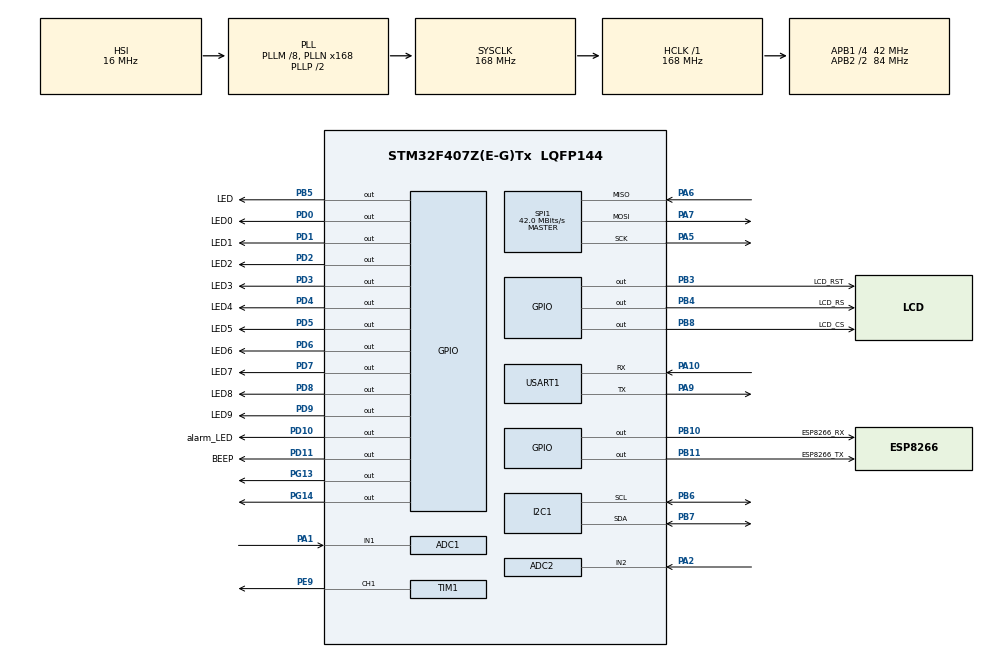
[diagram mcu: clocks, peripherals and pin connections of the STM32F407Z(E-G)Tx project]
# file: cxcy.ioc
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ADC1.Channel-1\#ChannelRegularConversion=ADC_CHANNEL_1
ADC1.NbrOfConversionFlag=1
ADC1.Rank-1\#ChannelRegularConversion=1
ADC1.SamplingTime-1\#ChannelRegularConversion=ADC_SAMPLETIME_3CYCLES
ADC1.master=1
ADC2.Channel-0\#ChannelRegularConversion=ADC_CHANNEL_2
ADC2.NbrOfConversionFlag=1
ADC2.Rank-0\#ChannelRegularConversion=1
ADC2.SamplingTime-0\#ChannelRegularConversion=ADC_SAMPLETIME_3CYCLES
Dma.Request0=SPI1_TX
Dma.SPI1_TX.0.Direction=DMA_MEMORY_TO_PERIPH
Dma.SPI1_TX.0.FIFOMode=DMA_FIFOMODE_DISABLE
Dma.SPI1_TX.0.Instance=DMA2_Stream3
Dma.SPI1_TX.0.MemDataAlignment=DMA_MDATAALIGN_HALFWORD
Dma.SPI1_TX.0.MemInc=DMA_MINC_ENABLE
Dma.SPI1_TX.0.Mode=DMA_NORMAL
Dma.SPI1_TX.0.PeriphDataAlignment=DMA_PDATAALIGN_HALFWORD
Dma.SPI1_TX.0.PeriphInc=DMA_PINC_DISABLE
Dma.SPI1_TX.0.Priority=DMA_PRIORITY_MEDIUM
FREERTOS.Tasks01=defaultTask,24,128,StartDefaultTask,Default,NULL,Dynamic,NULL,NULL;sensor_Task,8,256,Sensor_Task,Default,NULL,Dynamic,NULL,NULL;upload_Task,8,256,Upload_Task,Default,NULL,Dynamic,NULL,NULL;alarm_Task,8,256,Alarm_Task,Default,NULL,Dynamic,NULL,NULL
Mcu.Family=STM32F4
Mcu.Name=STM32F407Z(E-G)Tx
Mcu.Package=LQFP144
NVIC.DMA2_Stream3_IRQn=true\:5\:0\:false\:false\:true\:true\:false\:true\:true
NVIC.PriorityGroup=NVIC_PRIORITYGROUP_4
PA1.Signal=ADCx_IN1
PA10.Mode=Asynchronous
PA10.Signal=USART1_RX
PA2.Signal=ADCx_IN2
PA5.Mode=Full_Duplex_Master
PA5.Signal=SPI1_SCK
PA6.Mode=Full_Duplex_Master
PA6.Signal=SPI1_MISO
PA7.Mode=Full_Duplex_Master
PA7.Signal=SPI1_MOSI
PA9.Mode=Asynchronous
PA9.Signal=USART1_TX
PB10.GPIO_Label=ESP8266_RX
PB10.Signal=GPIO_Output
PB11.GPIO_Label=ESP8266_TX
PB11.Signal=GPIO_Output
PB3.GPIO_Label=LCD_RST
PB3.Signal=GPIO_Output
PB4.GPIO_Label=LCD_RS
PB4.Signal=GPIO_Output
PB5.GPIO_Label=LED
PB5.Signal=GPIO_Output
PB6.Mode=I2C
PB6.Signal=I2C1_SCL
PB7.Mode=I2C
PB7.Signal=I2C1_SDA
PB8.GPIO_Label=LCD_CS
PB8.Signal=GPIO_Output
PC14-OSC32_IN.Mode=LSE-External-Oscillator
PC14-OSC32_IN.Signal=RCC_OSC32_IN
PC15-OSC32_OUT.Mode=LSE-External-Oscillator
PC15-OSC32_OUT.Signal=RCC_OSC32_OUT
PD0.GPIO_Label=LED0
PD0.Signal=GPIO_Output
PD1.GPIO_Label=LED1
PD1.Signal=GPIO_Output
PD10.GPIO_Label=alarm_LED
PD10.Signal=GPIO_Output
PD11.GPIO_Label=BEEP
PD11.Signal=GPIO_Output
PD2.GPIO_Label=LED2
PD2.Signal=GPIO_Output
PD3.GPIO_Label=LED3
PD3.Signal=GPIO_Output
PD4.GPIO_Label=LED4
PD4.Signal=GPIO_Output
PD5.GPIO_Label=LED5
PD5.Signal=GPIO_Output
PD6.GPIO_Label=LED6
PD6.Signal=GPIO_Output
PD7.GPIO_Label=LED7
PD7.Signal=GPIO_Output
PD8.GPIO_Label=LED8
PD8.Signal=GPIO_Output
PD9.GPIO_Label=LED9
PD9.Signal=GPIO_Output
PE9.Signal=S_TIM1_CH1
PG13.Signal=GPIO_Output
PG14.Signal=GPIO_Output
PH0-OSC_IN.Mode=HSE-External-Oscillator
PH0-OSC_IN.Signal=RCC_OSC_IN
PH1-OSC_OUT.Mode=HSE-External-Oscillator
PH1-OSC_OUT.Signal=RCC_OSC_OUT
ProjectManager.HeapSize=0x400
ProjectManager.StackSize=0x800
ProjectManager.TargetToolchain=MDK-ARM V5.32
RCC.48MHZClocksFreq_Value=84000000
RCC.AHBFreq_Value=168000000
RCC.APB1CLKDivider=RCC_HCLK_DIV4
RCC.APB1Freq_Value=42000000
RCC.APB1TimFreq_Value=84000000
RCC.APB2CLKDivider=RCC_HCLK_DIV2
RCC.APB2Freq_Value=84000000
RCC.APB2TimFreq_Value=168000000
RCC.CortexFreq_Value=168000000
RCC.HCLKFreq_Value=168000000
RCC.HSE_VALUE=25000000
RCC.HSI_VALUE=16000000
RCC.PLLM=8
RCC.PLLN=168
RCC.SYSCLKFreq_VALUE=168000000
RCC.SYSCLKSource=RCC_SYSCLKSOURCE_PLLCLK
RCC.VCOOutputFreq_Value=336000000
SH.ADCx_IN1.0=ADC1_IN1,IN1
SH.ADCx_IN2.0=ADC2_IN2,IN2
SH.S_TIM1_CH1.0=TIM1_CH1,PWM Generation1 CH1
SPI1.CalculateBaudRate=42.0 MBits/s
SPI1.Direction=SPI_DIRECTION_2LINES
SPI1.Mode=SPI_MODE_MASTER
SPI1.VirtualType=VM_MASTER
TIM1.Channel-PWM\ Generation1\ CH1=TIM_CHANNEL_1
TIM1.Period=150
USART1.VirtualMode=VM_ASYNC
VP_FREERTOS_VS_CMSIS_V2.Mode=CMSIS_V2
VP_TIM1_VS_ClockSourceINT.Mode=Internal
board=custom

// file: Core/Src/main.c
/* USER CODE BEGIN Header */
/**
  ******************************************************************************
  * @file           : main.c
  * @brief          : Main program body
  ******************************************************************************
  * @attention
  *
  * Copyright (c) 2026 STMicroelectronics.
  * All rights reserved.
  *
  * This software is licensed under terms that can be found in the LICENSE file
  * in the root directory of this software component.
  * If no LICENSE file comes with this software, it is provided AS-IS.
  *
  ******************************************************************************
  */
/* USER CODE END Header */
#include "main.h"
#include "cmsis_os.h"
#include "adc.h"
#include "dma.h"
#include "i2c.h"
#include "spi.h"
#include "tim.h"
#include "usart.h"
#include "gpio.h"

void SystemClock_Config(void);
void MX_FREERTOS_Init(void);

/* USER CODE BEGIN 0 */
KalmanFilter kf1,kf2,kf3; // 卡尔曼滤波句柄

float filtered_voltage; //滤波后的电压
float filtered_current; //滤波后的电流
float filtered_temperature; //滤波后的温度
float soc_estimate; //剩余电量

float vol; //测量电压
float current; //测量电流
float temp; //测量温度

/* USER CODE END 0 */

int main(void)
{

  /* MCU Configuration--------------------------------------------------------*/

  /* Reset of all peripherals, Initializes the Flash interface and the Systick. */
  HAL_Init();

  /* Configure the system clock */
  SystemClock_Config();

  /* Initialize all configured peripherals */
  MX_GPIO_Init();
  MX_DMA_Init();
  MX_ADC1_Init();
  MX_I2C1_Init();
  MX_SPI1_Init();
  MX_TIM1_Init();
  MX_USART1_UART_Init();
  MX_ADC2_Init();
  /* USER CODE BEGIN 2 */

  //开启ADC
  HAL_ADC_Start(&hadc1);
  HAL_ADC_Start(&hadc2);
  //开启PWM
  HAL_TIM_PWM_Start(&htim1, TIM_CHANNEL_1);

  bmp280_Init(&hi2c1);
  LCD_Init();
  KalmanFilter_Init(&kf1, 0.01, 1, 0);
  KalmanFilter_Init(&kf2, 0.01, 1, 0);
  KalmanFilter_Init(&kf3, 0.01, 1, 0);

  /* USER CODE END 2 */

  /* Init scheduler */
  osKernelInitialize();

  /* Call init function for freertos objects (in cmsis_os2.c) */
  MX_FREERTOS_Init();

  /* Start scheduler */
  osKernelStart();

  /* We should never get here as control is now taken by the scheduler */

  /* Infinite loop */
  while (1)
  {

  }
}

void SystemClock_Config(void)
{
  RCC_OscInitTypeDef RCC_OscInitStruct = {0};
  RCC_ClkInitTypeDef RCC_ClkInitStruct = {0};

  /** Configure the main internal regulator output voltage
  */
  __HAL_RCC_PWR_CLK_ENABLE();
  __HAL_PWR_VOLTAGESCALING_CONFIG(PWR_REGULATOR_VOLTAGE_SCALE1);

  /** Initializes the RCC Oscillators according to the specified parameters
  * in the RCC_OscInitTypeDef structure.
  */
  RCC_OscInitStruct.OscillatorType = RCC_OSCILLATORTYPE_HSI;
  RCC_OscInitStruct.HSIState = RCC_HSI_ON;
  RCC_OscInitStruct.HSICalibrationValue = RCC_HSICALIBRATION_DEFAULT;
  RCC_OscInitStruct.PLL.PLLState = RCC_PLL_ON;
  RCC_OscInitStruct.PLL.PLLSource = RCC_PLLSOURCE_HSI;
  RCC_OscInitStruct.PLL.PLLM = 8;
  RCC_OscInitStruct.PLL.PLLN = 168;
  RCC_OscInitStruct.PLL.PLLP = RCC_PLLP_DIV2;
  RCC_OscInitStruct.PLL.PLLQ = 4;
  if (HAL_RCC_OscConfig(&RCC_OscInitStruct) != HAL_OK)
  {
    Error_Handler();
  }

  /** Initializes the CPU, AHB and APB buses clocks
  */
  RCC_ClkInitStruct.ClockType = RCC_CLOCKTYPE_HCLK|RCC_CLOCKTYPE_SYSCLK
                              |RCC_CLOCKTYPE_PCLK1|RCC_CLOCKTYPE_PCLK2;
  RCC_ClkInitStruct.SYSCLKSource = RCC_SYSCLKSOURCE_PLLCLK;
  RCC_ClkInitStruct.AHBCLKDivider = RCC_SYSCLK_DIV1;
  RCC_ClkInitStruct.APB1CLKDivider = RCC_HCLK_DIV4;
  RCC_ClkInitStruct.APB2CLKDivider = RCC_HCLK_DIV2;

  if (HAL_RCC_ClockConfig(&RCC_ClkInitStruct, FLASH_LATENCY_5) != HAL_OK)
  {
    Error_Handler();
  }
}

void Error_Handler(void)
{
  __disable_irq();
  while (1)
  {
  }
}

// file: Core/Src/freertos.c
/* USER CODE BEGIN Header */
/**
  ******************************************************************************
  * File Name          : freertos.c
  * Description        : Code for freertos applications
  ******************************************************************************
  * @attention
  *
  * Copyright (c) 2026 STMicroelectronics.
  * All rights reserved.
  *
  * This software is licensed under terms that can be found in the LICENSE file
  * in the root directory of this software component.
  * If no LICENSE file comes with this software, it is provided AS-IS.
  *
  ******************************************************************************
  */
/* USER CODE END Header */

#include "FreeRTOS.h"
#include "task.h"
#include "main.h"
#include "cmsis_os.h"
#include "gui_guider.h"

/* USER CODE BEGIN Variables */
const char *topic = "/sys/k1qq30jp47P/ESP32/thing/event/property/post";
lv_ui guider_ui;

AlarmLevel level = ALARM_NONE;
/* USER CODE END Variables */
/* Definitions for defaultTask */
osThreadId_t defaultTaskHandle;
const osThreadAttr_t defaultTask_attributes = {
  .name = "defaultTask",
  .stack_size = 128 * 4,
  .priority = (osPriority_t) osPriorityNormal,
};
/* Definitions for sensor_Task */
osThreadId_t sensor_TaskHandle;
const osThreadAttr_t sensor_Task_attributes = {
  .name = "sensor_Task",
  .stack_size = 256 * 4,
  .priority = (osPriority_t) osPriorityLow,
};
/* Definitions for upload_Task */
osThreadId_t upload_TaskHandle;
const osThreadAttr_t upload_Task_attributes = {
  .name = "upload_Task",
  .stack_size = 256 * 4,
  .priority = (osPriority_t) osPriorityLow,
};
/* Definitions for alarm_Task */
osThreadId_t alarm_TaskHandle;
const osThreadAttr_t alarm_Task_attributes = {
  .name = "alarm_Task",
  .stack_size = 256 * 4,
  .priority = (osPriority_t) osPriorityLow,
};

void StartDefaultTask(void *argument);
void Sensor_Task(void *argument);
void Upload_Task(void *argument);
void Alarm_Task(void *argument);

void MX_FREERTOS_Init(void); /* (MISRA C 2004 rule 8.1) */

void MX_FREERTOS_Init(void) {

  /* Create the thread(s) */
  /* creation of defaultTask */
  defaultTaskHandle = osThreadNew(StartDefaultTask, NULL, &defaultTask_attributes);

  /* creation of sensor_Task */
  sensor_TaskHandle = osThreadNew(Sensor_Task, NULL, &sensor_Task_attributes);

  /* creation of upload_Task */
  upload_TaskHandle = osThreadNew(Upload_Task, NULL, &upload_Task_attributes);

  /* creation of alarm_Task */
  alarm_TaskHandle = osThreadNew(Alarm_Task, NULL, &alarm_Task_attributes);

}

void StartDefaultTask(void *argument)
{
  /* USER CODE BEGIN StartDefaultTask */
	lv_init();
	lv_port_disp_init();
	lv_port_indev_init();

	setup_ui(&guider_ui);
  events_init(&guider_ui);
  custom_init(&guider_ui);
  /* Infinite loop */
  for(;;)
  {
		//display_time(&guider_ui);
		lv_timer_handler();

    osDelay(1);
  }
  /* USER CODE END StartDefaultTask */
}

void Sensor_Task(void *argument)
{
  /* USER CODE BEGIN Sensor_Task */
  char text[10];
  /* Infinite loop */
  for(;;)
  {
		//获取电压、电流、温度
    vol = Get_vol();
    current = Get_Current();
    temp = Get_Temp();

    //卡尔曼滤波
    KalmanFilter_Handle(&kf1, &kf2, &kf3, vol, current, temp);
    //显示电量
    Remaining_battery_show(filtered_voltage);

    sprintf(text, "%.2f%s", filtered_current, "A");
    lv_label_set_text(guider_ui.screen_curr_real, text);
    sprintf(text, "%.2f%s", filtered_voltage, "v");
    lv_label_set_text(guider_ui.screen_volt_real, text);
    sprintf(text, "%.2f%s", filtered_temperature, "°C");
    lv_label_set_text(guider_ui.screen_temp_real, text);
    osDelay(1);
  }
  /* USER CODE END Sensor_Task */
}

void Upload_Task(void *argument)
{
  /* USER CODE BEGIN Upload_Task */
  uint8_t wifi_sign = 0;
  ESP8266_Init();

	char text[512];
  /* Infinite loop */
  for(;;)
  {
    if( 0 == wifi_sign )
    {
      lv_label_set_text(guider_ui.screen_wifi_real, "network disconnected" LV_SYMBOL_WIFI " ");
      wifi_sign = ESP8266_ConnectWifi("iQOO12", "34074700") & ESP8266_ConnectMqttAliyun(MQTT_USERNAME, MQTT_PASSWORD, MQTT_CLIENTID, MQTT_HOSTURL) & ESP8266_SubscribeTopic("/k1qq30jp47P/ESP32/user/subscribe");
    }
    else
    {
      lv_label_set_text(guider_ui.screen_wifi_real, "network connected" LV_SYMBOL_WIFI " ");
		  sprintf(text, "{\\\"params\\\":{\\\"V\\\":%.2f,\\\"I\\\":%.2f,\\\"T\\\":%.2f,\\\"SOC\\\":%.0f%%,\\\"alarm\\\":%d}}",(double)filtered_voltage, (double)filtered_current, (double)filtered_temperature, soc_estimate,level);
      ESP8266_Publish(topic, text);
    }

    osDelay(1);
  }
  /* USER CODE END Upload_Task */
}

void Alarm_Task(void *argument)
{
  /* USER CODE BEGIN Alarm_Task */
  /* Infinite loop */
  for(;;)
  {
		 //报警检查
    level = Check_Battery_Alarm(level);

    if(level == ALARM_NONE){
      // 正常：白色
      lv_obj_set_style_bg_color(guider_ui.screen_cont_15, lv_color_hex(0xFFFFFF), LV_PART_MAIN|LV_STATE_DEFAULT);
      lv_label_set_text(guider_ui.screen_status_real, "正常");
    }
    else if(level == ALARM_LOW){
      // 低报警：黄色
      lv_obj_set_style_bg_color(guider_ui.screen_cont_15, lv_color_hex(0xFFFF00), LV_PART_MAIN|LV_STATE_DEFAULT);
      lv_label_set_text(guider_ui.screen_status_real, "黄色报警");
    }
    else if(level == ALARM_MEDIUM){
      // 中报警：橙色
      lv_obj_set_style_bg_color(guider_ui.screen_cont_15, lv_color_hex(0xFFA500), LV_PART_MAIN|LV_STATE_DEFAULT);
      lv_label_set_text(guider_ui.screen_status_real, "橙色报警");
    }
    else if(level == ALARM_HIGH){
      // 高报警：红色
      lv_obj_set_style_bg_color(guider_ui.screen_cont_15, lv_color_hex(0xFF0000), LV_PART_MAIN|LV_STATE_DEFAULT);
      lv_label_set_text(guider_ui.screen_status_real, "红色报警");
    }
    Trigger_Alarm(level);
    osDelay(1);
  }
  /* USER CODE END Alarm_Task */
}
